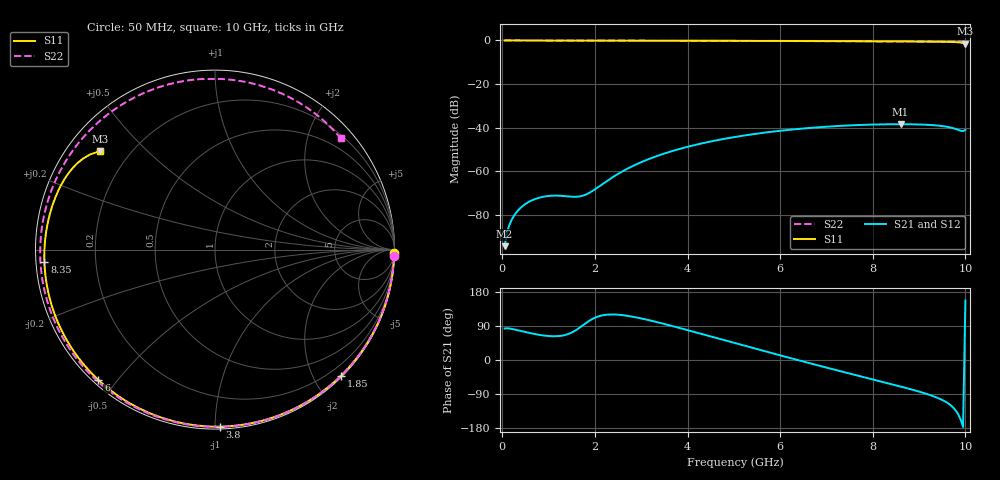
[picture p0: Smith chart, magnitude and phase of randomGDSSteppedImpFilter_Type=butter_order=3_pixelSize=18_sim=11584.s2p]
! freq	dB(S11)	phase(S11)	dB(S12)	phase(S12)
!  dB(S21)	phase(S21)	dB(S22)	phase(S22)
!S-par simulation data
#  GHz  S  DB  R 50
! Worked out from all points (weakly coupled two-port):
!   200 points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, 50 MHz to 10 GHz, reference 50 ohm
!   highest |S21| = -38.35 dB at 8.6 GHz (marker M1); lowest = -94.2 dB at 50 MHz (marker M2)
!   lowest |S11| = -1.5 dB at 10 GHz (marker M3), VSWR 11.69, Z = 4.86 + j18.4 ohm
!   |S11| at or under -10 dB: nowhere
!   |S22| runs from -0.6 to 0.0 dB; largest |S21 - S12| = 0
!   S11 on the Smith chart (normalised r, x): 50 MHz: 6, -93; 1.85 GHz: 0.02, -2.41; 3.8 GHz: 0.01, -1.03; 6 GHz: 0.02, -0.45; 8.35 GHz: 0.02, -0.04; 10 GHz: 0.10, +0.37
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0.05  -0.01 -1.2  -94.20 83.0  -94.20 83.0  -0.02 -2.2
0.25  -0.02 -6.2  -80.35 80.8  -80.35 80.8  -0.03 -10.6
0.5  -0.02 -12.4  -74.88 73.7  -74.88 73.7  -0.03 -21.2
0.85  -0.03 -21.1  -71.72 65.4  -71.72 65.4  -0.05 -35.7
1.3  -0.04 -32.0  -71.19 64.5  -71.19 64.5  -0.07 -53.8
1.75  -0.05 -42.8  -71.00 92.6  -71.00 92.6  -0.09 -71.0
1.85  -0.06 -45.1  -70.11 101.3  -70.11 101.3  -0.09 -74.7
2.6  -0.08 -62.4  -59.88 118.3  -59.88 118.3  -0.12 -101.0
3.4  -0.10 -80.0  -52.48 98.1  -52.48 98.1  -0.14 -126.5
3.8  -0.12 -88.4  -49.85 85.4  -49.85 85.4  -0.16 -138.4
4.4  -0.14 -100.7  -46.71 65.5  -46.71 65.5  -0.18 -155.6
5.05  -0.17 -113.6  -44.11 43.7  -44.11 43.7  -0.22 -173.6
6  -0.22 -131.8  -41.37 12.2  -41.37 12.2  -0.27 160.6
6.7  -0.27 -144.8  -39.96 -10.5  -39.96 -10.5  -0.31 141.3
7.6  -0.34 -161.6  -38.81 -38.9  -38.81 -38.9  -0.37 115.7
8.35  -0.42 -175.9  -38.38 -62.1  -38.38 -62.1  -0.43 93.3
8.6  -0.45 179.2  -38.35 -70.0  -38.35 -70.0  -0.44 85.6
9.1  -0.52 168.8  -38.55 -87.0  -38.55 -87.0  -0.48 70.0
9.6  -0.64 156.7  -39.52 -112.3  -39.52 -112.3  -0.53 54.1
9.85  -0.86 148.0  -40.98 -144.4  -40.98 -144.4  -0.56 46.2
9.95  -1.16 142.7  -41.52 -176.8  -41.52 -176.8  -0.57 43.0
10  -1.49 139.2  -40.99 156.8  -40.99 156.8  -0.58 41.4
